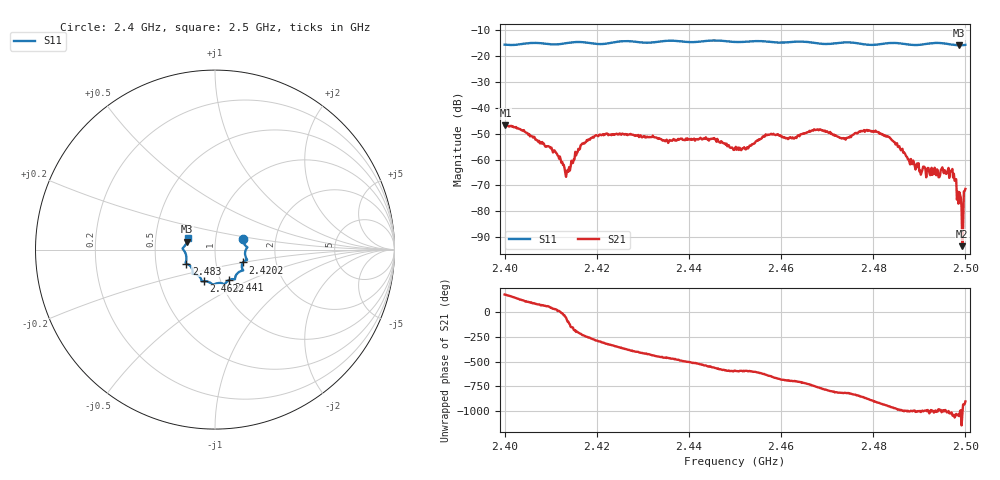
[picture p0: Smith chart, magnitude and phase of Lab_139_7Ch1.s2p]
# Hz S RI R 50
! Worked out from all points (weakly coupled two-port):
!   601 points, 2.4 GHz to 2.5 GHz, reference 50 ohm
!   highest |S21| = -46.73 dB at 2.4002 GHz (marker M1); lowest = -93.5 dB at 2.4993 GHz (marker M2)
!   lowest |S11| = -15.8 dB at 2.4987 GHz (marker M3), VSWR 1.39, Z = 36.4 + j3.33 ohm
!   |S11| at or under -10 dB: start of sweep to end of sweep
!   S12 and S22 are empty: the file has one direction only
!   S11 on the Smith chart (normalised r, x): 2.4 GHz: 1.36, +0.17; 2.4202 GHz: 1.35, -0.20; 2.441 GHz: 1.09, -0.39; 2.4622 GHz: 0.83, -0.30; 2.483 GHz: 0.72, -0.12; 2.5 GHz: 0.73, +0.09
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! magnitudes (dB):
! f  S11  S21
! 2.4 GHz  -15.5  -46.7
! 2.4002 GHz  -15.6  -46.7
! 2.4098 GHz  -15.4  -55.2
! 2.4137 GHz  -14.9  -64.0
! 2.4167 GHz  -14.6  -54.2
! 2.4202 GHz  -15.3  -50.8
! 2.4333 GHz  -14.4  -52.0
! 2.441 GHz  -14.6  -52.0
! 2.45 GHz  -14.5  -55.8
! 2.4572 GHz  -14.4  -50.4
! 2.4622 GHz  -14.5  -51.6
! 2.4667 GHz  -14.7  -48.7
! 2.4735 GHz  -14.7  -51.7
! 2.4788 GHz  -15.6  -49.0
! 2.483 GHz  -15.0  -51.1
! 2.4833 GHz  -15.0  -51.2
! 2.4902 GHz  -15.6  -64.2
! 2.4967 GHz  -15.4  -64.6
! 2.4975 GHz  -15.7  -65.5
! 2.4987 GHz  -15.8  -72.5
! 2.4993 GHz  -15.8  -93.5
! 2.5 GHz  -15.6  -71.3
